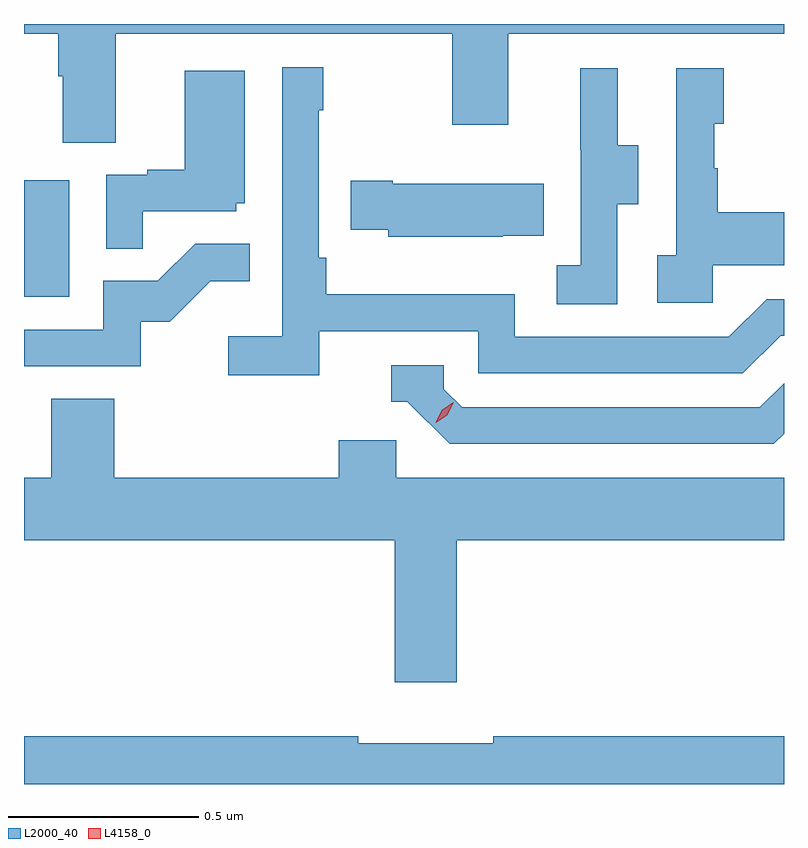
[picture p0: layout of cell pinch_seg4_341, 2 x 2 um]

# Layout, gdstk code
import gdstk
lib = gdstk.Library(unit=1e-6, precision=1e-09)
def R(c, l, rs):  # rectangles x0, y0, x1, y1
    for r in rs: c.add(gdstk.rectangle(r[:2], r[2:], *l))
def P(c, l, *ps):  # polygons
    for p in ps: c.add(gdstk.Polygon(p, *l))
L2000_40 = (2000, 40)
L4158_0 = (4158, 0)

pinch_seg4_341 = lib.new_cell('pinch_seg4_341')
R(pinch_seg4_341, L2000_40, [(967.229,810.78,967.348,811.087)])
P(pinch_seg4_341, L2000_40, [(967.471,811.472),(968.356,811.472),(968.356,811.233),(968.503,811.233),(968.503,811.472),(969.229,811.472),(969.229,811.498),(967.229,811.498),(967.229,811.472),(967.319,811.472),(967.319,811.36),(967.331,811.36),(967.331,811.186),(967.471,811.186)],
  [(968.006,810.69),(968.424,810.69),(968.424,810.579),(969.121,810.579),(969.22,810.678),(969.229,810.678),(969.229,810.774),(969.183,810.774),(969.084,810.675),(968.52,810.675),(968.52,810.787),(968.024,810.787),(968.024,810.883),(968.004,810.883),(968.004,811.271),(968.017,811.271),(968.017,811.384),(967.908,811.384),(967.908,810.676),(967.767,810.676),(967.767,810.574),(968.006,810.574)],
  [(969.042,810.863),(969.229,810.863),(969.229,811.003),(969.055,811.003),(969.055,811.118),(969.045,811.118),(969.045,811.236),(969.07,811.236),(969.07,811.381),(968.946,811.381),(968.946,810.89),(968.895,810.89),(968.895,810.765),(969.042,810.765)],
  [(968.79,811.024),(968.845,811.024),(968.845,811.179),(968.791,811.179),(968.791,811.381),(968.693,811.381),(968.693,811.167),(968.694,811.167),(968.694,810.863),(968.631,810.863),(968.631,810.76),(968.79,810.76)],
  [(967.541,811.005),(967.788,811.005),(967.788,811.026),(967.81,811.026),(967.81,811.375),(967.652,811.375),(967.652,811.114),(967.553,811.114),(967.553,811.101),(967.446,811.101),(967.446,810.907),(967.541,810.907)],
  [(968.489,810.941),(968.597,810.941),(968.597,811.078),(968.2,811.078),(968.2,811.086),(968.089,811.086),(968.089,810.956),(968.187,810.956),(968.187,810.938),(968.489,810.938)],
  [(967.536,810.714),(967.612,810.714),(967.719,810.821),(967.823,810.821),(967.823,810.92),(967.679,810.92),(967.581,810.822),(967.437,810.822),(967.437,810.693),(967.229,810.693),(967.229,810.597),(967.536,810.597)],
  [(969.229,810.42),(969.229,810.553),(969.165,810.489),(968.382,810.489),(968.334,810.537),(968.334,810.6),(968.195,810.6),(968.195,810.504),(968.238,810.504),(968.349,810.393),(969.202,810.393)],
  [(968.368,810.14),(969.229,810.14),(969.229,810.304),(968.208,810.304),(968.208,810.402),(968.057,810.402),(968.057,810.304),(967.466,810.304),(967.466,810.512),(967.301,810.512),(967.301,810.304),(967.229,810.304),(967.229,810.14),(968.204,810.14),(968.204,809.766),(968.368,809.766)],
  [(969.229,809.624),(968.464,809.624),(968.464,809.605),(968.108,809.605),(968.108,809.624),(967.229,809.624),(967.229,809.498),(969.229,809.498)])
P(pinch_seg4_341, L4158_0, [(968.313,810.449),(968.313,810.45),(968.328,810.482),(968.358,810.502),(968.359,810.502),(968.359,810.501),(968.343,810.469),(968.313,810.449)])

lib.write_gds('pinch_seg4_341.gds')
